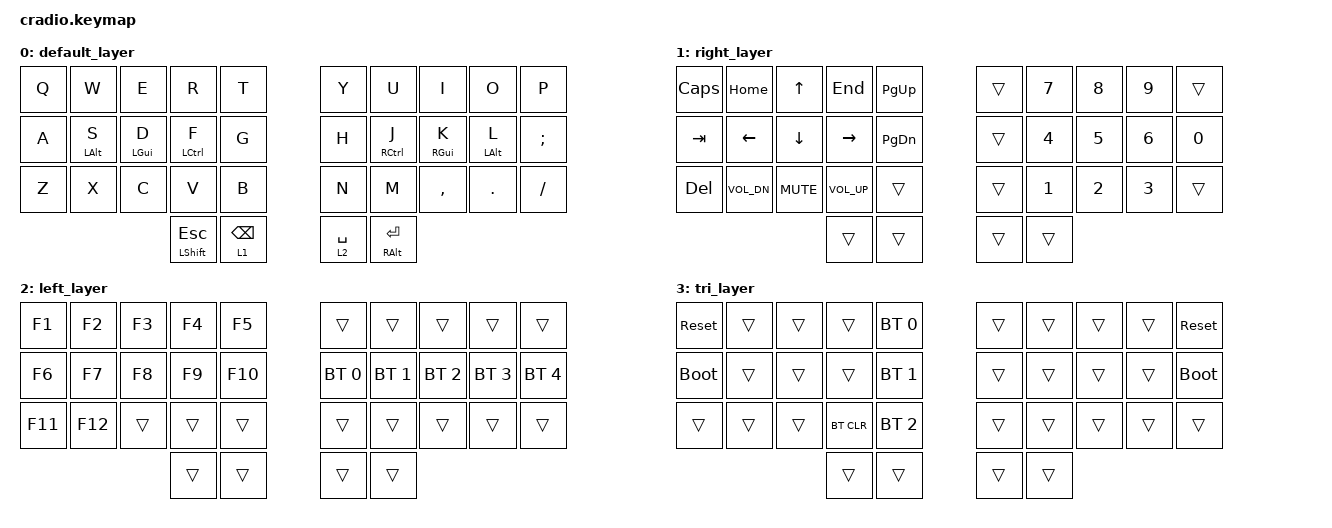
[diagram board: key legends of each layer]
// Copyright (c) 2022 The ZMK Contributors
// SPDX-License-Identifier: MIT

#include <behaviors.dtsi>
#include <dt-bindings/zmk/keys.h>
#include <dt-bindings/zmk/bt.h>

// Home row mods macro
#define HRML(k1,k2,k3,k4) &ht LSHFT k1  &ht LALT k2  &ht LCTRL k3  &ht LGUI k4
#define HRMR(k1,k2,k3,k4) &ht RGUI k1  &ht RCTRL k2  &ht RALT k3  &ht RSHFT k4

/ {
    behaviors {
        ht: hold_tap {
            compatible = "zmk,behavior-hold-tap";
            #binding-cells = <2>;
            flavor = "tap-preferred";
            tapping-term-ms = <220>;
            quick-tap-ms = <150>;
            require-prior-idle-ms = <100>;
            bindings = <&kp>, <&kp>;
        };
    };

    conditional_layers {
        compatible = "zmk,conditional-layers";
        tri_layer {
            if-layers = <1 2>;
            then-layer = <3>;
        };
    };

    keymap {
        compatible = "zmk,keymap";
        default_layer {
            bindings = <
        //╭──────────┬──────────┬──────────┬──────────┬──────────╮   ╭──────────┬──────────┬──────────┬──────────┬──────────╮
        //│  Q       │  W       │  E       │  R       │  T       │   │  Y       │  U       │  I       │  O       │  P       │
            &kp Q      &kp W      &kp E      &kp R      &kp T          &kp Y      &kp U      &kp I      &kp O      &kp P
        //├──────────┼──────────┼──────────┼──────────┼──────────┤   ├──────────┼──────────┼──────────┼──────────┼──────────┤
        //│  A       │  S       │  D       │  F       │  G       │   │  H       │  J       │  K       │  L       │ ' "      │
            &kp A      &ht LALT S &ht LGUI D &ht LCTRL F &kp G         &kp H      &ht RCTRL J &ht RGUI K &ht LALT L &kp SEMI
        //├──────────┼──────────┼──────────┼──────────┼──────────┤   ├──────────┼──────────┼──────────┼──────────┼──────────┤
        //│  Z       │  X       │  C       │  V       │  B       │   │  N       │  M       │ , <      │ . >      │ / ?      │
            &kp Z      &kp X      &kp C      &kp V      &kp B          &kp N      &kp M      &kp COMMA  &kp DOT    &kp FSLH
        //╰──────────┴──────────┴──────────┼──────────┼──────────┤   ├──────────┼──────────┼──────────┴──────────┴──────────╯
                                            &mt LSHFT ESC &lt 1 BSPC   &lt 2 SPACE &mt RALT ENTER
        //                                 ╰──────────┴──────────╯   ╰──────────┴──────────╯
            >;
        };

        right_layer {
            bindings = <
        //╭──────────┬──────────┬──────────┬──────────┬──────────╮   ╭──────────┬──────────┬──────────┬──────────┬──────────╮
        //│ INSERT   │  1       │  2       │  3       │          │   │ HOME     │ PAGE DN  │ PAGE UP  │ END      │  :       │
            &kp CAPS   &kp HOME   &kp UP     &kp END    &kp PG_UP      &trans     &kp N7     &kp N8     &kp N9     &trans
        //├──────────┼──────────┼──────────┼──────────┼──────────┤   ├──────────┼──────────┼──────────┼──────────┼──────────┤
        //│ DELETE   │  4       │  5       │  6       │          │   │ LEFT     │ DOWN     │ UP       │ RIGHT    │  ;       │
            &kp TAB    &kp LEFT   &kp DOWN   &kp RIGHT  &kp PG_DN      &trans     &kp N4     &kp N5     &kp N6     &kp N0
        //├──────────┼──────────┼──────────┼──────────┼──────────┤   ├──────────┼──────────┼──────────┼──────────┼──────────┤
        //│ CAPS     │  7       │  8       │  9       │  0       │   │          │          │          │          │          │
            &kp DEL   &kp C_VOL_DN &kp C_MUTE &kp C_VOL_UP &trans      &trans     &kp N1     &kp N2     &kp N3     &trans
        //╰──────────┴──────────┴──────────┼──────────┼──────────┤   ├──────────┼──────────┼──────────┴──────────┴──────────╯
                                             &trans     &trans         &trans     &trans
        //                                 ╰──────────┴──────────╯   ╰──────────┴──────────╯
            >;
        };

        left_layer {
            bindings = <
        //╭──────────┬──────────┬──────────┬──────────┬──────────╮   ╭──────────┬──────────┬──────────┬──────────┬──────────╮
        //│          │  [       │  {       │  }       │          │   │  ^       │  (       │  )       │  ]       │  ~       │
            &kp F1     &kp F2     &kp F3     &kp F4     &kp F5         &trans     &trans     &trans     &trans     &trans
        //├──────────┼──────────┼──────────┼──────────┼──────────┤   ├──────────┼──────────┼──────────┼──────────┼──────────┤
        //│  !       │  @       │  #       │  $       │  %       │   │  *       │  -       │  =       │  \       │  `       │
            &kp F6     &kp F7     &kp F8     &kp F9     &kp F10        &bt BT_SEL 0 &bt BT_SEL 1 &bt BT_SEL 2 &bt BT_SEL 3 &bt BT_SEL 4
        //├──────────┼──────────┼──────────┼──────────┼──────────┤   ├──────────┼──────────┼──────────┼──────────┼──────────┤
        //│          │          │          │          │          │   │  &       │  _       │  +       │  │       │          │
            &kp F11    &kp F12    &trans     &trans     &trans         &trans     &trans     &trans     &trans     &trans
        //╰──────────┴──────────┴──────────┼──────────┼──────────┤   ├──────────┼──────────┼──────────┴──────────┴──────────╯
                                             &trans     &trans         &trans     &trans
        //                                 ╰──────────┴──────────╯   ╰──────────┴──────────╯
            >;
        };

        tri_layer {
            bindings = <
        //╭──────────┬──────────┬──────────┬──────────┬──────────╮   ╭──────────┬──────────┬──────────┬──────────┬──────────╮
        //│ RESET    │          │          │          │PROFILE 0 │   │          │          │          │          │  RESET   │
           &sys_reset  &trans     &trans     &trans    &bt BT_SEL 0    &trans     &trans     &trans     &trans    &sys_reset
        //├──────────┼──────────┼──────────┼──────────┼──────────┤   ├──────────┼──────────┼──────────┼──────────┼──────────┤
        //│BOOTLOADER│          │          │          │PROFILE 1 │   │          │          │          │          │BOOTLOADER│
          &bootloader  &trans     &trans     &trans    &bt BT_SEL 1    &trans     &trans     &trans     &trans    &bootloader
        //├──────────┼──────────┼──────────┼──────────┼──────────┤   ├──────────┼──────────┼──────────┼──────────┼──────────┤
        //│          │          │          │ CLEAR BT │PROFILE 2 │   │          │          │          │          │          │
            &trans     &trans     &trans    &bt BT_CLR &bt BT_SEL 2    &trans     &trans     &trans     &trans     &trans
        //╰──────────┴──────────┴──────────┼──────────┼──────────┤   ├──────────┼──────────┼──────────┴──────────┴──────────╯
                                             &trans     &trans         &trans     &trans
        //                                 ╰──────────┴──────────╯   ╰──────────┴──────────╯
            >;
        };
    };
};
